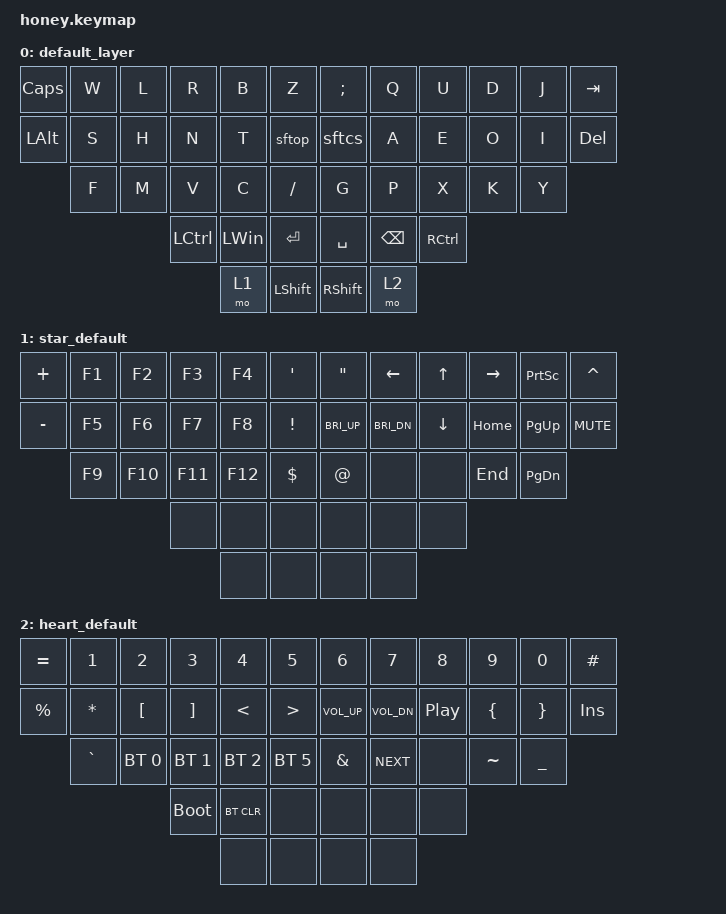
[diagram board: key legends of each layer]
#include <behaviors.dtsi>
#include <dt-bindings/zmk/keys.h>
#include <dt-bindings/zmk/bt.h>

/ {
    keymap {
        compatible = "zmk,keymap";

// List of layers:
// 0  --  Default
// 1  --  Star
// 2  --  Heart


        default_layer {
// -----------------------------------------------------------------------------------------
// | CAPS |  W  |  L  |  R  |  B  |  Z  |   |  ;  |  Q  |  U  |  D  |  J  | TAB  |
// | ALT  |  S  |  H  |  N  |  T  |  ,  |   |  .  |  A  |  E  |  O  |  I  | DEL  |
//        |  F  |  M  |  V  |  C  |  /  |   |  G  |  P  |  X  |  K  |  Y  |
//                    |LCTRL| WIN | ENT |   | SPC | BSP |RCTRL|
//                          | STR | SHFT|   | SHFT| HRT |
            bindings = <
   &kp CAPS  &kp W     &kp L     &kp R     &kp B     &kp Z          &kp SEMI  &kp Q     &kp U     &kp D     &kp J     &kp TAB
   &kp LALT  &kp S     &kp H     &kp N     &kp T     &sftop         &sftcs    &kp A     &kp E     &kp O     &kp I     &kp DEL
             &kp F     &kp M     &kp V     &kp C     &kp SLASH      &kp G     &kp P     &kp X     &kp K     &kp Y    
                                 &kp LCTRL &kp LWIN  &kp ENTER      &kp SPACE &kp BSPC  &kp RCTRL
                                           &mo 1     &kp LSHFT      &kp RSHFT &mo 2
                                            // mo 1 is star, mo 2 is heart
            >;
        };
        
        star_default {
// -----------------------------------------------------------------------------------------
// |  +   | F1  | F2  | F3  | F4  |  '  |   |  "  | LEFT|  UP |RIGHT|PRTSC|  ^   |
// |  -   | F5  | F6  | F7  | F8  |  !  |   |BRTUP|BRTDN|DOWN |HOME |PGUP | MUTE |
//        | F9  | F10 | F11 | F12 |  $  |   |  @  |     |     | END |PGDWN|
//                    |     |     |     |   |     |     |     |
//                          |     |     |   |     |     |
            bindings = <
   &kp PLUS  &kp F1    &kp F2    &kp F3    &kp F4    &kp APOS       &kp DQT      &kp LEFT     &kp UP    &kp RIGHT &kp PSCRN &kp CARET
   &kp MINUS &kp F5    &kp F6    &kp F7    &kp F8    &kp EXCL       &kp C_BRI_UP &kp C_BRI_DN &kp DOWN  &kp HOME  &kp PG_UP &kp C_MUTE
             &kp F9    &kp F10   &kp F11   &kp F12   &kp DLLR       &kp AT       &none        &none    &kp END   &kp PG_DN    
                                 &none     &none     &none          &none        &none        &none
                                           &none     &none          &none        &none            
                                           >;
        };

        heart_default {
// -----------------------------------------------------------------------------------------
// |  =   |  1  |  2  |  3  |  4  |  5  |   |  6  |  7  |  8  |  9  |  0  |  #   |
// |  %   |  *  |  [  |  ]  |  <  |  >  |   |VOLUP|VOLDN| SKP |  {  |  }  | INS  |
//        |  `  | BT1 | BT2 | BT3 | BT4 |   |  &  |     |     |  ~  |  _  |
//                    |BTLOD|BTCLR|     |   |     |     |     |
//                          |     |     |   |     |     |
            bindings = <
   &kp EQUAL &kp N1    &kp N2       &kp N3       &kp N4       &kp N5         &kp N6       &kp N7       &kp N8     &kp N9   &kp N0    &kp HASH
   &kp PRCNT &kp ASTRK &kp LBKT     &kp RBKT     &kp LT       &kp GT         &kp C_VOL_UP &kp C_VOL_DN &kp C_PP   &kp LBRC &kp RBRC  &kp INS
             &kp GRAVE &bt BT_SEL 0 &bt BT_SEL 1 &bt BT_SEL 2 &bt BT_SEL 5   &kp AMPS     &kp C_NEXT   &none      &kp TILDE  &kp UNDER
                                    &bootloader  &bt BT_CLR   &none          &none        &none        &none
                                                 &none        &none          &none        &none            
                                           >;
        };
    };

    behaviors {
        sftop: shift_comma_openparentheses {
            compatible = "zmk,behavior-mod-morph";
            #binding-cells = <0>;
            bindings = <&kp COMMA>, <&kp LPAR>;
            mods = <(MOD_LSFT|MOD_RSFT)>;
        };

        sftcs: shift_comma_closeparentheses {
            compatible = "zmk,behavior-mod-morph";
            #binding-cells = <0>;
            bindings = <&kp DOT>, <&kp RPAR>;
            mods = <(MOD_LSFT|MOD_RSFT)>;
        };
    };
};
